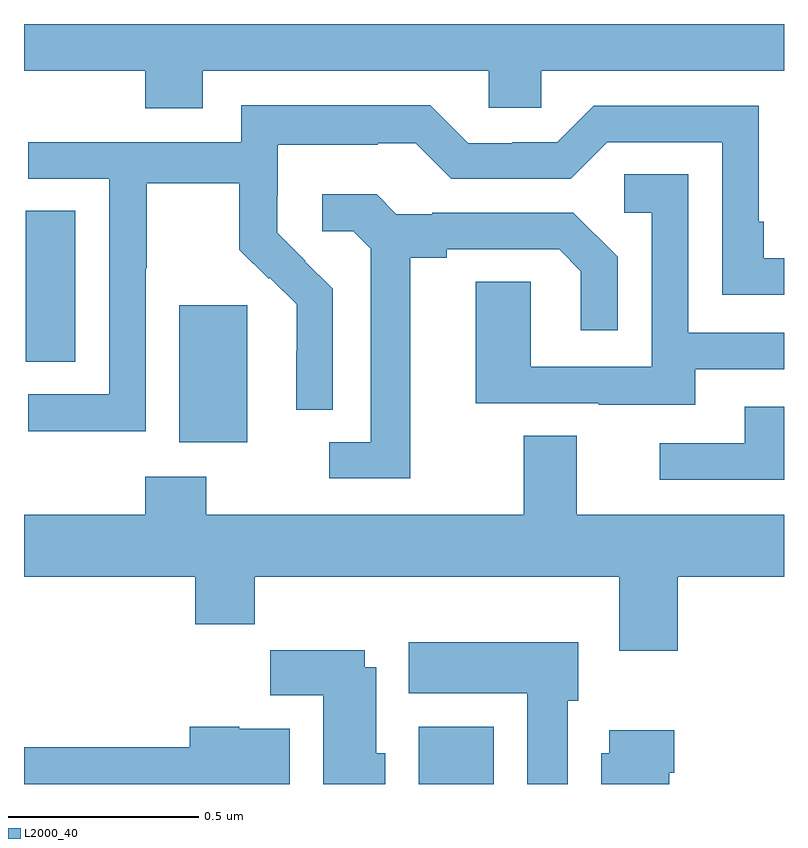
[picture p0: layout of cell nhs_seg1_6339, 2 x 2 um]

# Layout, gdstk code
import gdstk
lib = gdstk.Library(unit=1e-6, precision=1e-09)
def R(c, l, rs):  # rectangles x0, y0, x1, y1
    for r in rs: c.add(gdstk.rectangle(r[:2], r[2:], *l))
def P(c, l, *ps):  # polygons
    for p in ps: c.add(gdstk.Polygon(p, *l))
L2000_40 = (2000, 40)

nhs_seg1_6339 = lib.new_cell('nhs_seg1_6339')
R(nhs_seg1_6339, L2000_40, [(191.039,539.199,191.236,539.35), (190.409,540.098,190.588,540.459), (190.004,540.31,190.135,540.707)])
P(nhs_seg1_6339, L2000_40, [(190.471,541.076),(191.223,541.076),(191.223,540.978),(191.361,540.978),(191.361,541.076),(192,541.076),(192,541.199),(190,541.199),(190,541.076),(190.319,541.076),(190.319,540.977),(190.471,540.977)],
  [(190.32,540.556),(190.323,540.556),(190.323,540.78),(190.567,540.78),(190.567,540.605),(190.644,540.528),(190.647,540.531),(190.718,540.461),(190.718,540.338),(190.716,540.338),(190.716,540.184),(190.812,540.184),(190.812,540.502),(190.739,540.575),(190.74,540.576),(190.666,540.65),(190.666,540.747),(190.668,540.747),(190.668,540.881),(190.931,540.881),(190.931,540.885),(191.031,540.885),(191.124,540.792),(191.439,540.792),(191.535,540.888),(191.838,540.888),(191.838,540.486),(192,540.486),(192,540.582),(191.947,540.582),(191.947,540.679),(191.934,540.679),(191.934,540.984),(191.499,540.984),(191.403,540.888),(191.285,540.888),(191.285,540.885),(191.169,540.885),(191.069,540.985),(190.572,540.985),(190.572,540.888),(190.011,540.888),(190.011,540.792),(190.224,540.792),(190.224,540.225),(190.011,540.225),(190.011,540.127),(190.32,540.127)],
  [(191.767,540.291),(192,540.291),(192,540.387),(191.748,540.387),(191.748,540.803),(191.58,540.803),(191.58,540.702),(191.652,540.702),(191.652,540.297),(191.334,540.297),(191.334,540.521),(191.189,540.521),(191.189,540.201),(191.513,540.201),(191.513,540.197),(191.767,540.197)],
  [(191.017,540.584),(191.113,540.584),(191.113,540.606),(191.408,540.606),(191.465,540.549),(191.465,540.393),(191.562,540.393),(191.562,540.586),(191.446,540.702),(191.074,540.702),(191.074,540.699),(190.98,540.699),(190.928,540.751),(190.785,540.751),(190.785,540.654),(190.866,540.654),(190.913,540.607),(190.913,540.099),(190.803,540.099),(190.803,540.003),(191.017,540.003)],
  [(192,540.192),(191.897,540.192),(191.897,540.096),(191.673,540.096),(191.673,540),(192,540)],
  [(191.72,539.744),(192,539.744),(192,539.908),(191.455,539.908),(191.455,540.116),(191.315,540.116),(191.315,539.908),(190.479,539.908),(190.479,540.007),(190.319,540.007),(190.319,539.908),(190,539.908),(190,539.744),(190.451,539.744),(190.451,539.62),(190.607,539.62),(190.607,539.744),(191.567,539.744),(191.567,539.55),(191.72,539.55)],
  [(191.431,539.418),(191.458,539.418),(191.458,539.572),(191.012,539.572),(191.012,539.438),(191.324,539.438),(191.324,539.199),(191.431,539.199)],
  [(190.951,539.28),(190.927,539.28),(190.927,539.506),(190.897,539.506),(190.897,539.551),(190.648,539.551),(190.648,539.432),(190.787,539.432),(190.787,539.199),(190.951,539.199)],
  [(190.699,539.344),(190.566,539.344),(190.566,539.35),(190.436,539.35),(190.436,539.296),(190,539.296),(190,539.199),(190.699,539.199)],
  [(191.698,539.228),(191.711,539.228),(191.711,539.341),(191.54,539.341),(191.54,539.28),(191.519,539.28),(191.519,539.199),(191.698,539.199)])

lib.write_gds('nhs_seg1_6339.gds')
